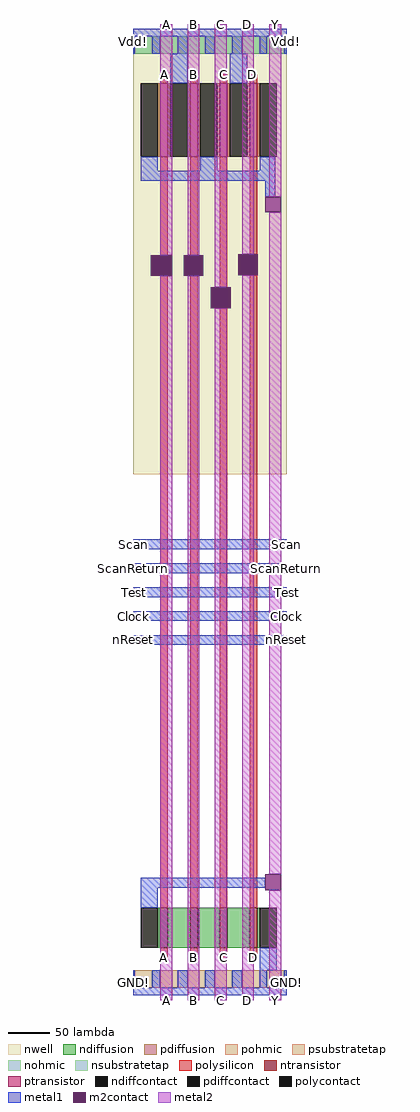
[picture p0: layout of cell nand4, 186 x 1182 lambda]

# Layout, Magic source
magic
tech tsmc180
<< nwell >>
rect 0 637 186 1176
<< polysilicon >>
rect 33 1110 42 1121
rect 69 1110 78 1121
rect 105 1110 114 1121
rect 141 1110 150 1121
rect 33 902 42 1021
rect 69 902 78 1021
rect 33 112 42 877
rect 69 112 78 877
rect 105 863 114 1021
rect 141 903 150 1021
rect 105 112 114 838
rect 141 112 150 878
rect 33 52 42 63
rect 69 52 78 63
rect 105 52 114 63
rect 141 52 150 63
<< ndiffusion >>
rect 30 63 33 112
rect 42 63 69 112
rect 78 63 105 112
rect 114 63 141 112
rect 150 63 153 112
<< pdiffusion >>
rect 30 1021 33 1110
rect 42 1021 45 1110
rect 66 1021 69 1110
rect 78 1021 81 1110
rect 102 1021 105 1110
rect 114 1021 117 1110
rect 138 1021 141 1110
rect 150 1021 153 1110
<< pohmic >>
rect 0 15 2 36
rect 23 15 33 36
rect 54 15 66 36
rect 87 15 99 36
rect 120 15 132 36
rect 153 15 162 36
rect 183 15 186 36
<< nohmic >>
rect 0 1146 2 1167
rect 23 1146 33 1167
rect 54 1146 66 1167
rect 87 1146 99 1167
rect 120 1146 132 1167
rect 153 1146 162 1167
rect 183 1146 186 1167
<< ntransistor >>
rect 33 63 42 112
rect 69 63 78 112
rect 105 63 114 112
rect 141 63 150 112
<< ptransistor >>
rect 33 1021 42 1110
rect 69 1021 78 1110
rect 105 1021 114 1110
rect 141 1021 150 1110
<< polycontact >>
rect 21 877 47 902
rect 61 877 85 902
rect 127 878 151 903
rect 94 838 118 863
<< ndiffcontact >>
rect 9 63 30 112
rect 153 63 174 112
<< pdiffcontact >>
rect 9 1021 30 1110
rect 45 1021 66 1110
rect 81 1021 102 1110
rect 117 1021 138 1110
rect 153 1021 174 1110
<< psubstratetap >>
rect 2 15 23 36
rect 33 15 54 36
rect 66 15 87 36
rect 99 15 120 36
rect 132 15 153 36
rect 162 15 183 36
<< nsubstratetap >>
rect 2 1146 23 1167
rect 33 1146 54 1167
rect 66 1146 87 1167
rect 99 1146 120 1167
rect 132 1146 153 1167
rect 162 1146 183 1167
<< metal1 >>
rect 0 1167 186 1176
rect 0 1146 2 1167
rect 23 1146 33 1167
rect 54 1146 66 1167
rect 87 1146 99 1167
rect 120 1146 132 1167
rect 153 1146 162 1167
rect 183 1146 186 1167
rect 45 1110 66 1146
rect 117 1110 138 1146
rect 9 1004 30 1021
rect 81 1004 102 1021
rect 153 1004 172 1021
rect 9 992 172 1004
rect 160 973 172 992
rect 0 546 186 558
rect 0 517 186 529
rect 0 488 186 500
rect 0 459 186 471
rect 0 430 186 442
rect 9 136 160 148
rect 9 112 30 136
rect 153 36 174 63
rect 0 15 2 36
rect 23 15 33 36
rect 54 15 66 36
rect 87 15 99 36
rect 120 15 132 36
rect 153 15 162 36
rect 183 15 186 36
rect 0 6 186 15
<< m2contact >>
rect 160 954 179 973
rect 21 877 47 902
rect 61 877 85 902
rect 127 878 151 903
rect 94 838 118 863
rect 160 133 179 152
<< metal2 >>
rect 33 902 47 1182
rect 66 902 80 1182
rect 33 0 47 877
rect 66 0 80 877
rect 99 863 113 1182
rect 132 903 146 1182
rect 165 973 179 1182
rect 99 0 113 838
rect 132 0 146 878
rect 165 152 179 954
rect 165 0 179 133
<< labels >>
rlabel metal1 0 6 0 36 3 GND!
rlabel metal1 0 1146 0 1176 3 Vdd!
rlabel metal2 66 0 80 0 1 B
rlabel metal2 33 0 47 0 1 A
rlabel metal2 66 1182 80 1182 5 B
rlabel metal2 33 1182 47 1182 5 A
rlabel polysilicon 38 1121 38 1121 1 A
rlabel polysilicon 73 1121 73 1121 1 B
rlabel polysilicon 37 52 37 52 1 A
rlabel polysilicon 73 52 73 52 1 B
rlabel metal2 99 1182 113 1182 5 C
rlabel metal2 99 0 113 0 1 C
rlabel metal2 165 0 179 0 1 Y
rlabel metal1 186 6 186 36 7 GND!
rlabel metal2 165 1182 179 1182 5 Y
rlabel metal1 186 1146 186 1176 7 Vdd!
rlabel polysilicon 109 1121 109 1121 1 C
rlabel polysilicon 109 52 109 52 1 C
rlabel polysilicon 146 52 146 52 1 D
rlabel polysilicon 145 1121 145 1121 1 D
rlabel metal2 132 1182 146 1182 5 D
rlabel metal2 132 0 146 0 1 D
rlabel metal1 186 546 186 558 7 Scan
rlabel metal1 186 517 186 529 7 ScanReturn
rlabel metal1 186 488 186 500 7 Test
rlabel metal1 186 459 186 471 7 Clock
rlabel metal1 186 430 186 442 7 nReset
rlabel metal1 0 430 0 442 3 nReset
rlabel metal1 0 459 0 471 3 Clock
rlabel metal1 0 488 0 500 3 Test
rlabel metal1 0 517 0 529 3 ScanReturn
rlabel metal1 0 546 0 558 3 Scan
<< end >>
